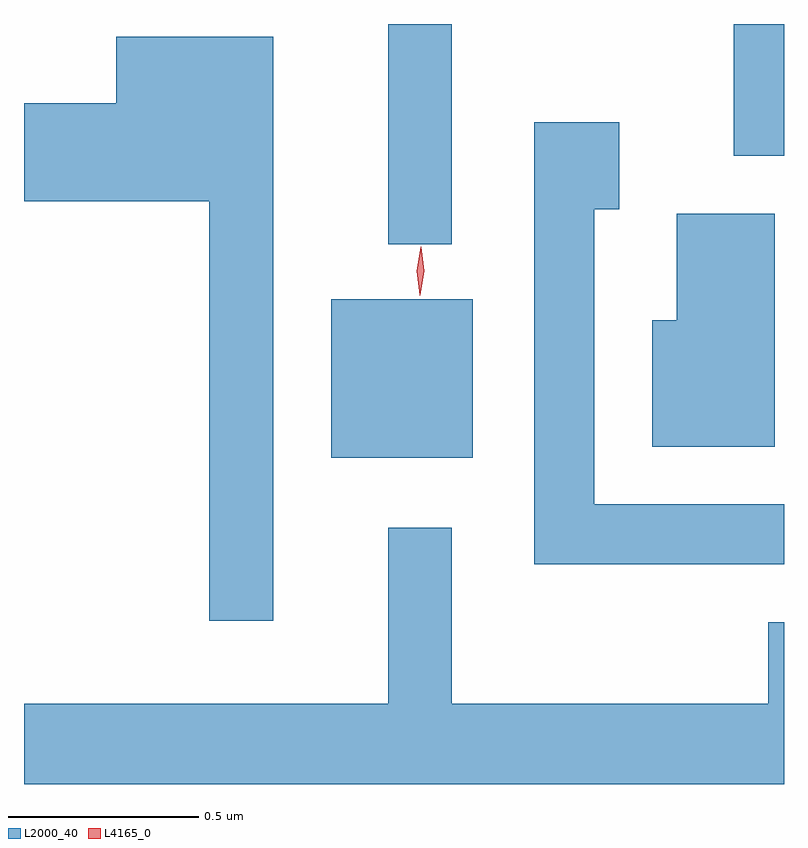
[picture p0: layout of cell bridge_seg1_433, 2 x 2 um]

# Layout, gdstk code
import gdstk
lib = gdstk.Library(unit=1e-6, precision=1e-09)
def R(c, l, rs):  # rectangles x0, y0, x1, y1
    for r in rs: c.add(gdstk.rectangle(r[:2], r[2:], *l))
def P(c, l, *ps):  # polygons
    for p in ps: c.add(gdstk.Polygon(p, *l))
L2000_40 = (2000, 40)
L4165_0 = (4165, 0)

bridge_seg1_433 = lib.new_cell('bridge_seg1_433')
R(bridge_seg1_433, L2000_40, [(403.451,927.131,403.824,927.549), (403.601,927.693,403.769,928.273), (404.511,927.926,404.643,928.273)])
P(bridge_seg1_433, L2000_40, [(403.299,928.239),(402.886,928.239),(402.886,928.064),(402.643,928.064),(402.643,927.806),(403.131,927.806),(403.131,926.703),(403.299,926.703)],
  [(404.643,927.009),(404.144,927.009),(404.144,927.786),(404.209,927.786),(404.209,928.014),(403.986,928.014),(403.986,926.851),(404.643,926.851)],
  [(404.619,927.774),(404.361,927.774),(404.361,927.494),(404.296,927.494),(404.296,927.161),(404.619,927.161)],
  [(404.643,926.699),(404.601,926.699),(404.601,926.484),(403.769,926.484),(403.769,926.948),(403.601,926.948),(403.601,926.484),(402.643,926.484),(402.643,926.273),(404.643,926.273)])
P(bridge_seg1_433, L4165_0, [(403.685,927.558),(403.685,927.559),(403.676,927.623),(403.687,927.687),(403.687,927.687),(403.688,927.687),(403.696,927.622),(403.686,927.559)])

lib.write_gds('bridge_seg1_433.gds')
